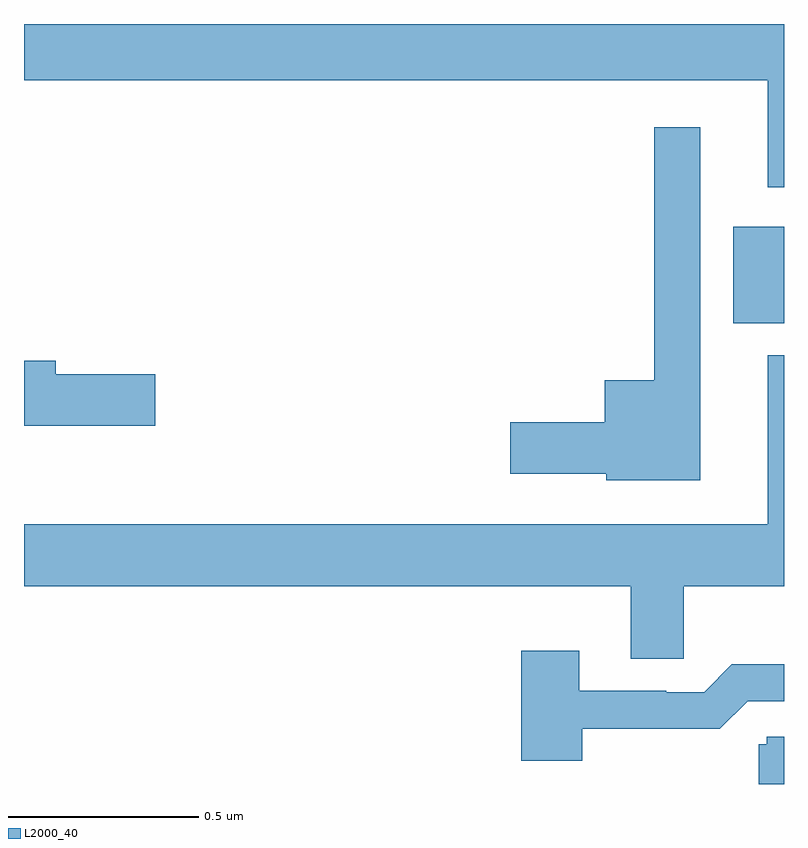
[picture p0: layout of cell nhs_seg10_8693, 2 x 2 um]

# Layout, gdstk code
import gdstk
lib = gdstk.Library(unit=1e-6, precision=1e-09)
def R(c, l, rs):  # rectangles x0, y0, x1, y1
    for r in rs: c.add(gdstk.rectangle(r[:2], r[2:], *l))
def P(c, l, *ps):  # polygons
    for p in ps: c.add(gdstk.Polygon(p, *l))
L2000_40 = (2000, 40)

nhs_seg10_8693 = lib.new_cell('nhs_seg10_8693')
R(nhs_seg10_8693, L2000_40, [(221.867,1263.713,222,1263.967)])
P(nhs_seg10_8693, L2000_40, [(222,1264.5),(220,1264.5),(220,1264.352),(221.957,1264.352),(221.957,1264.071),(222,1264.071)],
  [(221.779,1264.228),(221.658,1264.228),(221.658,1263.562),(221.528,1263.562),(221.528,1263.452),(221.28,1263.452),(221.28,1263.317),(221.532,1263.317),(221.532,1263.299),(221.779,1263.299)],
  [(221.736,1263.02),(222,1263.02),(222,1263.628),(221.957,1263.628),(221.957,1263.184),(220,1263.184),(220,1263.02),(221.597,1263.02),(221.597,1262.83),(221.736,1262.83)],
  [(220.345,1263.578),(220.084,1263.578),(220.084,1263.614),(220,1263.614),(220,1263.443),(220.345,1263.443)],
  [(221.469,1262.646),(221.732,1262.646),(221.732,1262.645),(221.831,1262.645),(221.904,1262.718),(222,1262.718),(222,1262.815),(221.863,1262.815),(221.79,1262.742),(221.69,1262.742),(221.69,1262.745),(221.461,1262.745),(221.461,1262.851),(221.309,1262.851),(221.309,1262.561),(221.469,1262.561)],
  [(222,1262.625),(221.955,1262.625),(221.955,1262.604),(221.933,1262.604),(221.933,1262.5),(222,1262.5)])

lib.write_gds('nhs_seg10_8693.gds')
